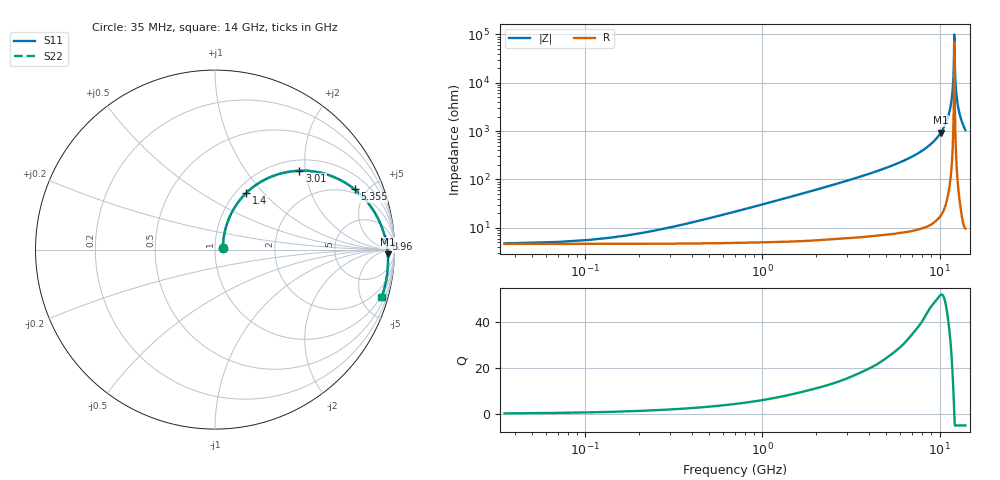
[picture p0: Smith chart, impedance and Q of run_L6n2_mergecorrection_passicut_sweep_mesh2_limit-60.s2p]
#  Hz  S  RI  R  50
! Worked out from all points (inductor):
!   400 points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, 35 MHz to 14 GHz, reference 50 ohm
!   read as one part in series: L = 4.77 nH near 490 MHz
!   highest Q = 51.7 at 10.19 GHz (marker M1), where L = 14.6 nH
!   self-resonance near 12.11 GHz
!   S11 on the Smith chart (normalised r, x): 35 MHz: 1.09, +0.02; 1.4 GHz: 1.11, +0.80; 3.01 GHz: 1.23, +1.85; 5.355 GHz: 1.74, +4.14; 8.96 GHz: 15, +19; 14 GHz: 0.91, -7.02
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3.5e7  0.0436 0.00891  0.9544 -0.0104  0.9543 -0.0104  0.0435 0.00891
5.95e8  0.0683 0.1482  0.9212 -0.1688  0.9212 -0.1688  0.0684 0.1482
1.4e9  0.1728 0.3145  0.8047 -0.3428  0.8047 -0.3429  0.1728 0.3143
2.38e9  0.355 0.4207  0.6197 -0.4585  0.6197 -0.4585  0.3549 0.4205
3.01e9  0.4697 0.4397  0.5033 -0.484  0.5032 -0.484  0.4697 0.4394
4.69e9  0.7108 0.3811  0.2598 -0.4445  0.2598 -0.4445  0.7107 0.3807
5.355e9  0.7776 0.3361  0.1922 -0.4074  0.1923 -0.4074  0.7774 0.3359
7.035e9  0.8895 0.2076  0.0779 -0.2991  0.0779 -0.2991  0.8893 0.2072
8.96e9  0.9494 0.0606  0.0148 -0.1757  0.0148 -0.1757  0.9492 0.0602
9.345e9  0.9552 0.0325  0.00827 -0.1523  0.00819 -0.1523  0.955 0.0321
1.0185e10  0.9628 -0.0269  -0.000849 -0.1033  -0.000894 -0.1033  0.9625 -0.0273
1.113e10  0.9635 -0.0908  -0.00354 -0.0512  -0.00365 -0.0512  0.9632 -0.0913
1.169e10  0.9608 -0.127  -0.00199 -0.022  -0.00204 -0.022  0.9603 -0.1275
1.2005e10  0.9583 -0.147  -0.000177 -0.00603  -0.000246 -0.00606  0.9579 -0.1474
1.2075e10  0.9576 -0.1514  0.00032 -0.00252  0.00024 -0.00256  0.9573 -0.1518
1.211e10  0.9573 -0.1536  0.000581 -0.000776  0.000495 -0.000816  0.9569 -0.154
1.2145e10  0.9569 -0.1558  0.000851 0.000966  0.000758 0.000924  0.9566 -0.1562
1.218e10  0.9566 -0.158  0.00113 0.0027  0.00103 0.00266  0.9563 -0.1583
1.225e10  0.9558 -0.1623  0.00171 0.00616  0.0016 0.00612  0.9555 -0.1627
1.253e10  0.9524 -0.1795  0.00435 0.0198  0.00419 0.0198  0.9523 -0.18
1.309e10  0.9444 -0.2128  0.0109 0.0461  0.0108 0.0462  0.944 -0.2135
1.4e10  0.9277 -0.2653  0.0253 0.0867  0.0251 0.0867  0.9276 -0.2654
